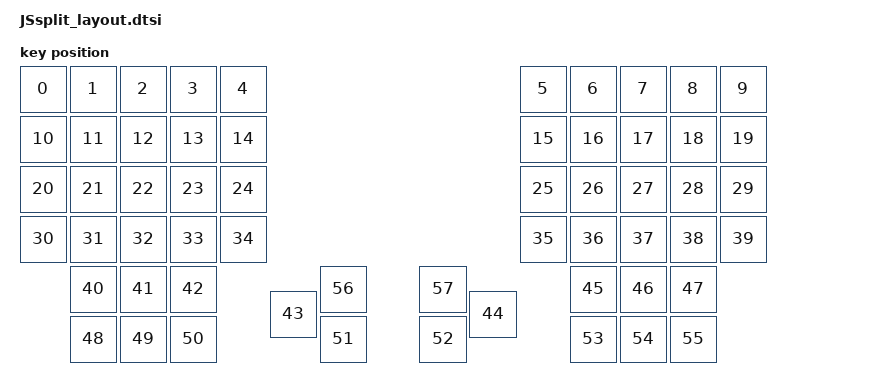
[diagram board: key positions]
#include <physical_layouts.dtsi>

/ {
    physical_layout0: physical_layout_0 {
        compatible = "zmk,physical-layout";
        display-name = "JSsplit-layout";
        transform = <&matrix_transform0>;

        keys  //                     w   h    x    y     rot    rx    ry
            = <&key_physical_attrs 100 100    0    0       0     0     0>
            , <&key_physical_attrs 100 100  100    0       0     0     0>
            , <&key_physical_attrs 100 100  200    0       0     0     0>
            , <&key_physical_attrs 100 100  300    0       0     0     0>
            , <&key_physical_attrs 100 100  400    0       0     0     0>
            , <&key_physical_attrs 100 100 1000    0       0     0     0>
            , <&key_physical_attrs 100 100 1100    0       0     0     0>
            , <&key_physical_attrs 100 100 1200    0       0     0     0>
            , <&key_physical_attrs 100 100 1300    0       0     0     0>
            , <&key_physical_attrs 100 100 1400    0       0     0     0>
            , <&key_physical_attrs 100 100    0  100       0     0     0>
            , <&key_physical_attrs 100 100  100  100       0     0     0>
            , <&key_physical_attrs 100 100  200  100       0     0     0>
            , <&key_physical_attrs 100 100  300  100       0     0     0>
            , <&key_physical_attrs 100 100  400  100       0     0     0>
            , <&key_physical_attrs 100 100 1000  100       0     0     0>
            , <&key_physical_attrs 100 100 1100  100       0     0     0>
            , <&key_physical_attrs 100 100 1200  100       0     0     0>
            , <&key_physical_attrs 100 100 1300  100       0     0     0>
            , <&key_physical_attrs 100 100 1400  100       0     0     0>
            , <&key_physical_attrs 100 100    0  200       0     0     0>
            , <&key_physical_attrs 100 100  100  200       0     0     0>
            , <&key_physical_attrs 100 100  200  200       0     0     0>
            , <&key_physical_attrs 100 100  300  200       0     0     0>
            , <&key_physical_attrs 100 100  400  200       0     0     0>
            , <&key_physical_attrs 100 100 1000  200       0     0     0>
            , <&key_physical_attrs 100 100 1100  200       0     0     0>
            , <&key_physical_attrs 100 100 1200  200       0     0     0>
            , <&key_physical_attrs 100 100 1300  200       0     0     0>
            , <&key_physical_attrs 100 100 1400  200       0     0     0>
            , <&key_physical_attrs 100 100    0  300       0     0     0>
            , <&key_physical_attrs 100 100  100  300       0     0     0>
            , <&key_physical_attrs 100 100  200  300       0     0     0>
            , <&key_physical_attrs 100 100  300  300       0     0     0>
            , <&key_physical_attrs 100 100  400  300       0     0     0>
            , <&key_physical_attrs 100 100 1000  300       0     0     0>
            , <&key_physical_attrs 100 100 1100  300       0     0     0>
            , <&key_physical_attrs 100 100 1200  300       0     0     0>
            , <&key_physical_attrs 100 100 1300  300       0     0     0>
            , <&key_physical_attrs 100 100 1400  300       0     0     0>
            , <&key_physical_attrs 100 100  100  400       0     0     0>
            , <&key_physical_attrs 100 100  200  400       0     0     0>
            , <&key_physical_attrs 100 100  300  400       0     0     0>
            , <&key_physical_attrs 100 100  500  450       0     0     0>
            , <&key_physical_attrs 100 100  900  450       0     0     0>
            , <&key_physical_attrs 100 100 1100  400       0     0     0>
            , <&key_physical_attrs 100 100 1200  400       0     0     0>
            , <&key_physical_attrs 100 100 1300  400       0     0     0>
            , <&key_physical_attrs 100 100  100  500       0     0     0>
            , <&key_physical_attrs 100 100  200  500       0     0     0>
            , <&key_physical_attrs 100 100  300  500       0     0     0>
            , <&key_physical_attrs 100 100  600  500       0     0     0>
            , <&key_physical_attrs 100 100  800  500       0     0     0>
            , <&key_physical_attrs 100 100 1100  500       0     0     0>
            , <&key_physical_attrs 100 100 1200  500       0     0     0>
            , <&key_physical_attrs 100 100 1300  500       0     0     0>
            , <&key_physical_attrs 100 100  600  400       0     0     0>
            , <&key_physical_attrs 100 100  800  400       0     0     0>
            ;
            
            /*= <&key_physical_attrs 100 100  200    0    1000   550 (-90)>
            , <&key_physical_attrs 100 100  100   35    1000   550 (-90)>
            , <&key_physical_attrs 100 100  300   35    1000   550 (-90)>
            , <&key_physical_attrs 100 100  400   50    1000   550 (-90)>
            , <&key_physical_attrs 100 100    0   70    1000   550 (-90)>
            , <&key_physical_attrs 100 100  200  100    1000   550 (-90)>
            , <&key_physical_attrs 100 100  100  135    1000   550 (-90)>
            , <&key_physical_attrs 100 100  300  135    1000   550 (-90)>
            , <&key_physical_attrs 100 100  400  150    1000   550 (-90)>
            , <&key_physical_attrs 100 100    0  170    1000   550 (-90)>
            , <&key_physical_attrs 100 100  200  200    1000   550 (-90)>
            , <&key_physical_attrs 100 100  100  235    1000   550 (-90)>
            , <&key_physical_attrs 100 100  300  235    1000   550 (-90)>
            , <&key_physical_attrs 100 100  400  250    1000   550 (-90)>
            , <&key_physical_attrs 100 100    0  270    1000   550 (-90)>
            , <&key_physical_attrs 100 100  200  300    1000   550 (-90)>
            , <&key_physical_attrs 100 100  100  335    1000   550 (-90)>
            , <&key_physical_attrs 100 100  300  335    1000   550 (-90)>
            , <&key_physical_attrs 100 100  400  350    1000   550 (-90)>
            , <&key_physical_attrs 100 100    0  370    1000   550 (-90)>
            , <&key_physical_attrs 100 100  100  445    1000   550 (-90)>
            , <&key_physical_attrs 100 100  200  445    1000   550 (-90)>
            , <&key_physical_attrs 100 100  300  445    1000   550 (-90)>
            , <&key_physical_attrs 100 100  100  545    1000   550 (-90)>
            , <&key_physical_attrs 100 100  200  545    1000   550 (-90)>
            , <&key_physical_attrs 100 100  300  545    1000   550 (-90)>
            , <&key_physical_attrs 100 100  638  435    1500   550 (-90)>
            , <&key_physical_attrs 100 100  538  485    1500   550 (-90)>
            , <&key_physical_attrs 100 100  638  535    1500   550 (-90)>
            , <&key_physical_attrs 100 100  475  460 (-1500)   550 (-90)>
            , <&key_physical_attrs 100 100  575  510 (-1500)   550 (-90)>
            , <&key_physical_attrs 100 100  475  560 (-1500)   550 (-90)>
            , <&key_physical_attrs 100 100  900   25 (-1000)   550 (-90)>
            , <&key_physical_attrs 100 100  800   60 (-1000)   550 (-90)>
            , <&key_physical_attrs 100 100 1000   60 (-1000)   550 (-90)>
            , <&key_physical_attrs 100 100  700   75 (-1000)   550 (-90)>
            , <&key_physical_attrs 100 100 1100   95 (-1000)   550 (-90)>
            , <&key_physical_attrs 100 100  900  125 (-1000)   550 (-90)>
            , <&key_physical_attrs 100 100  800  160 (-1000)   550 (-90)>
            , <&key_physical_attrs 100 100 1000  160 (-1000)   550 (-90)>
            , <&key_physical_attrs 100 100  700  175 (-1000)   550 (-90)>
            , <&key_physical_attrs 100 100 1100  195 (-1000)   550 (-90)>
            , <&key_physical_attrs 100 100  900  225 (-1000)   550 (-90)>
            , <&key_physical_attrs 100 100  800  260 (-1000)   550 (-90)>
            , <&key_physical_attrs 100 100 1000  260 (-1000)   550 (-90)>
            , <&key_physical_attrs 100 100  700  275 (-1000)   550 (-90)>
            , <&key_physical_attrs 100 100 1100  295 (-1000)   550 (-90)>
            , <&key_physical_attrs 100 100  900  325 (-1000)   550 (-90)>
            , <&key_physical_attrs 100 100  800  360 (-1000)   550 (-90)>
            , <&key_physical_attrs 100 100 1000  360 (-1000)   550 (-90)>
            , <&key_physical_attrs 100 100  700  375 (-1000)   550 (-90)>
            , <&key_physical_attrs 100 100 1100  395 (-1000)   550 (-90)>
            , <&key_physical_attrs 100 100  800  467 (-1000)   550 (-90)>
            , <&key_physical_attrs 100 100  900  467 (-1000)   550 (-90)>
            , <&key_physical_attrs 100 100 1000  467 (-1000)   550 (-90)>
            , <&key_physical_attrs 100 100  800  567 (-1000)   550 (-90)>
            , <&key_physical_attrs 100 100  900  567 (-1000)   550 (-90)>
            , <&key_physical_attrs 100 100 1000  567 (-1000)   550 (-90)>
            ;*/
    // Define the listener node for the PIM447 trackball
     pim447_listener: pim447_listener {
         compatible = "zmk,input-listener";
         status = "disabled"; // Disabled by default, enabled on central side
     };
 
     // Input split driver needed for peripheral pointing devices
     input_split: input_split {
         compatible = "zmk,input-split-driver";
         status = "disabled"; // Disabled by default, enabled in overlays
     };
    };
};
